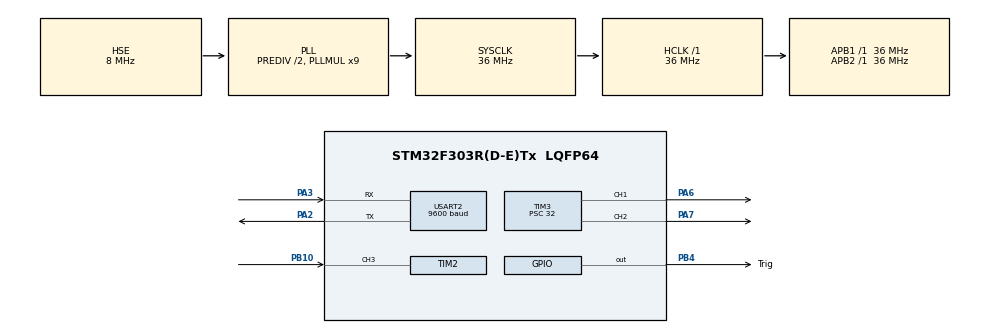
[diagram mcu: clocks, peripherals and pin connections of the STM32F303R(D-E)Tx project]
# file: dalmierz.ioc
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Mcu.Family=STM32F3
Mcu.Name=STM32F303R(D-E)Tx
Mcu.Package=LQFP64
NVIC.PriorityGroup=NVIC_PRIORITYGROUP_4
NVIC.TIM2_IRQn=true\:0\:0\:false\:false\:true\:true\:true\:true
NVIC.TIM4_IRQn=true\:0\:0\:false\:false\:true\:true\:true\:true
PA2.Mode=Asynchronous
PA2.Signal=USART2_TX
PA3.Mode=Asynchronous
PA3.Signal=USART2_RX
PA6.Signal=S_TIM3_CH1
PA7.Signal=S_TIM3_CH2
PB10.Signal=S_TIM2_CH3
PB4.GPIO_Label=Trig
PB4.GPIO_Speed=GPIO_SPEED_FREQ_HIGH
PB4.Signal=GPIO_Output
PF0-OSC_IN.Mode=HSE-External-Oscillator
PF0-OSC_IN.Signal=RCC_OSC_IN
PF1-OSC_OUT.Mode=HSE-External-Oscillator
PF1-OSC_OUT.Signal=RCC_OSC_OUT
ProjectManager.HeapSize=0x200
ProjectManager.StackSize=0x400
ProjectManager.TargetToolchain=STM32CubeIDE
RCC.AHBFreq_Value=36000000
RCC.APB1Freq_Value=36000000
RCC.APB1TimFreq_Value=36000000
RCC.APB2Freq_Value=36000000
RCC.APB2TimFreq_Value=36000000
RCC.CortexFreq_Value=36000000
RCC.HCLKFreq_Value=36000000
RCC.PLLDivider=RCC_PREDIV_DIV2
RCC.PLLMUL=RCC_PLL_MUL9
RCC.PLLSourceVirtual=RCC_PLLSOURCE_HSE
RCC.SYSCLKFreq_VALUE=36000000
RCC.SYSCLKSourceVirtual=RCC_SYSCLKSOURCE_PLLCLK
RCC.USBFreq_Value=36000000
SH.S_TIM2_CH3.0=TIM2_CH3,Input_Capture3_from_TI3
SH.S_TIM3_CH1.0=TIM3_CH1,PWM Generation1 CH1
SH.S_TIM3_CH2.0=TIM3_CH2,PWM Generation2 CH2
TIM2.Channel-Input_Capture3_from_TI3=TIM_CHANNEL_3
TIM2.ICPolarity_CH3=TIM_INPUTCHANNELPOLARITY_BOTHEDGE
TIM2.Period=10000
TIM2.Prescaler=36
TIM3.Channel-PWM\ Generation1\ CH1=TIM_CHANNEL_1
TIM3.Channel-PWM\ Generation2\ CH2=TIM_CHANNEL_2
TIM3.CounterMode=TIM_COUNTERMODE_UP
TIM3.OCPolarity_1=TIM_OCPOLARITY_LOW
TIM3.OCPolarity_2=TIM_OCPOLARITY_LOW
TIM3.Period=250
TIM3.Prescaler=32
TIM4.Period=36
TIM4.Prescaler=2
USART2.BaudRate=9600
USART2.VirtualMode-Asynchronous=VM_ASYNC
VP_TIM2_VS_ClockSourceINT.Mode=Internal
VP_TIM3_VS_ClockSourceINT.Mode=Internal
VP_TIM4_VS_ClockSourceINT.Mode=Internal
board=custom

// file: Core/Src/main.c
/* USER CODE BEGIN Header */
/**
  ******************************************************************************
  * @file           : main.c
  * @brief          : Main program body
  ******************************************************************************
  * @attention
  *
  * Copyright (c) 2025 STMicroelectronics.
  * All rights reserved.
  *
  * This software is licensed under terms that can be found in the LICENSE file
  * in the root directory of this software component.
  * If no LICENSE file comes with this software, it is provided AS-IS.
  *
  ******************************************************************************
  */
/* USER CODE END Header */
#include "main.h"

/* USER CODE BEGIN Includes */
#include <stdlib.h>
/* USER CODE END Includes */

TIM_HandleTypeDef htim2;
TIM_HandleTypeDef htim3;
TIM_HandleTypeDef htim4;

UART_HandleTypeDef huart2;

/* USER CODE BEGIN PV */
int input_capture;

/* USER CODE END PV */

void SystemClock_Config(void);
static void MX_GPIO_Init(void);
static void MX_TIM3_Init(void);
static void MX_TIM2_Init(void);
static void MX_USART2_UART_Init(void);
static void MX_TIM4_Init(void);
/* USER CODE BEGIN PFP */
void RG_Color(uint8_t R, uint8_t G){
	if(R<251 && G <251){
		TIM3->CCR1 = 250-R; //Red
		TIM3->CCR2 = 250-G; //Green
	}
}

void HAL_TIM_IC_CaptureCallback(TIM_HandleTypeDef *htim)
{
	if (htim->Instance==TIM2)
		{
         input_capture= __HAL_TIM_GetCompare(&htim2, TIM_CHANNEL_3);	//czyatj TIM2 channel 3 capture value
		__HAL_TIM_SetCounter(&htim2, 0);	//reset licznika po przerwaniu
		}
}

//void HAL_TIM_IC_CaptureCallback(TIM_HandleTypeDef *htim){
//	if(htim -> Instance == TIM2){
//		input_capture = __HAL_TIM_GetCompare(&htim2, TIM_CHANNEL_3);
//		__HAL_TIM_SetCounter(&htim2, 0);
//	}
//}

/* USER CODE END PFP */

int main(void)
{

  /* USER CODE BEGIN 1 */
  uint8_t wyswietl[40];
  uint8_t i;
  /* USER CODE END 1 */

  /* MCU Configuration--------------------------------------------------------*/

  /* Reset of all peripherals, Initializes the Flash interface and the Systick. */
  HAL_Init();

  /* Configure the system clock */
  SystemClock_Config();

  /* Initialize all configured peripherals */
  MX_GPIO_Init();
  MX_TIM3_Init();
  MX_TIM2_Init();
  MX_USART2_UART_Init();
  MX_TIM4_Init();
  /* USER CODE BEGIN 2 */

  HAL_TIM_PWM_Start(&htim3, TIM_CHANNEL_1);  //R
  HAL_TIM_PWM_Start(&htim3, TIM_CHANNEL_2); //G

  HAL_TIM_IC_Start_IT(&htim2, TIM_CHANNEL_3); //Start przerwan
  HAL_TIM_Base_Start_IT(&htim4); // uruchomienie TRIG

  /* USER CODE END 2 */

  /* Infinite loop */
  /* USER CODE BEGIN WHILE */

  while (1)
  {

	  for(i=0;i<40;i++)//zeruj lancuch do wyswietlenia
		  wyswietl[i]=0;

	  sprintf(wyswietl,"raw=%d, distance=%d\n\r", input_capture, input_capture/58);
	  HAL_UART_Transmit(&huart2,wyswietl,40,250);
	  HAL_Delay(500);

	  if((input_capture/58) <= 10){ // input/58 = [cm]
		  RG_Color(250, 0); // red

	  }else{
		  RG_Color(0, 250); // green

	  }

    /* USER CODE END WHILE */

  }
}

void SystemClock_Config(void)
{
  RCC_OscInitTypeDef RCC_OscInitStruct = {0};
  RCC_ClkInitTypeDef RCC_ClkInitStruct = {0};
  RCC_PeriphCLKInitTypeDef PeriphClkInit = {0};

  /** Initializes the RCC Oscillators according to the specified parameters
  * in the RCC_OscInitTypeDef structure.
  */
  RCC_OscInitStruct.OscillatorType = RCC_OSCILLATORTYPE_HSE;
  RCC_OscInitStruct.HSEState = RCC_HSE_ON;
  RCC_OscInitStruct.HSIState = RCC_HSI_ON;
  RCC_OscInitStruct.PLL.PLLState = RCC_PLL_ON;
  RCC_OscInitStruct.PLL.PLLSource = RCC_PLLSOURCE_HSE;
  RCC_OscInitStruct.PLL.PLLMUL = RCC_PLL_MUL9;
  RCC_OscInitStruct.PLL.PREDIV = RCC_PREDIV_DIV2;
  if (HAL_RCC_OscConfig(&RCC_OscInitStruct) != HAL_OK)
  {
    Error_Handler();
  }

  /** Initializes the CPU, AHB and APB buses clocks
  */
  RCC_ClkInitStruct.ClockType = RCC_CLOCKTYPE_HCLK|RCC_CLOCKTYPE_SYSCLK
                              |RCC_CLOCKTYPE_PCLK1|RCC_CLOCKTYPE_PCLK2;
  RCC_ClkInitStruct.SYSCLKSource = RCC_SYSCLKSOURCE_PLLCLK;
  RCC_ClkInitStruct.AHBCLKDivider = RCC_SYSCLK_DIV1;
  RCC_ClkInitStruct.APB1CLKDivider = RCC_HCLK_DIV1;
  RCC_ClkInitStruct.APB2CLKDivider = RCC_HCLK_DIV1;

  if (HAL_RCC_ClockConfig(&RCC_ClkInitStruct, FLASH_LATENCY_1) != HAL_OK)
  {
    Error_Handler();
  }
  PeriphClkInit.PeriphClockSelection = RCC_PERIPHCLK_USART2|RCC_PERIPHCLK_TIM2
                              |RCC_PERIPHCLK_TIM34;
  PeriphClkInit.Usart2ClockSelection = RCC_USART2CLKSOURCE_PCLK1;
  PeriphClkInit.Tim2ClockSelection = RCC_TIM2CLK_HCLK;
  PeriphClkInit.Tim34ClockSelection = RCC_TIM34CLK_HCLK;
  if (HAL_RCCEx_PeriphCLKConfig(&PeriphClkInit) != HAL_OK)
  {
    Error_Handler();
  }
}

static void MX_TIM2_Init(void)
{

  TIM_ClockConfigTypeDef sClockSourceConfig = {0};
  TIM_MasterConfigTypeDef sMasterConfig = {0};
  TIM_IC_InitTypeDef sConfigIC = {0};

  htim2.Instance = TIM2;
  htim2.Init.Prescaler = 36;
  htim2.Init.CounterMode = TIM_COUNTERMODE_UP;
  htim2.Init.Period = 10000;
  htim2.Init.ClockDivision = TIM_CLOCKDIVISION_DIV1;
  htim2.Init.AutoReloadPreload = TIM_AUTORELOAD_PRELOAD_DISABLE;
  if (HAL_TIM_Base_Init(&htim2) != HAL_OK)
  {
    Error_Handler();
  }
  sClockSourceConfig.ClockSource = TIM_CLOCKSOURCE_INTERNAL;
  if (HAL_TIM_ConfigClockSource(&htim2, &sClockSourceConfig) != HAL_OK)
  {
    Error_Handler();
  }
  if (HAL_TIM_IC_Init(&htim2) != HAL_OK)
  {
    Error_Handler();
  }
  sMasterConfig.MasterOutputTrigger = TIM_TRGO_RESET;
  sMasterConfig.MasterSlaveMode = TIM_MASTERSLAVEMODE_DISABLE;
  if (HAL_TIMEx_MasterConfigSynchronization(&htim2, &sMasterConfig) != HAL_OK)
  {
    Error_Handler();
  }
  sConfigIC.ICPolarity = TIM_INPUTCHANNELPOLARITY_BOTHEDGE;
  sConfigIC.ICSelection = TIM_ICSELECTION_DIRECTTI;
  sConfigIC.ICPrescaler = TIM_ICPSC_DIV1;
  sConfigIC.ICFilter = 0;
  if (HAL_TIM_IC_ConfigChannel(&htim2, &sConfigIC, TIM_CHANNEL_3) != HAL_OK)
  {
    Error_Handler();
  }

}

static void MX_TIM3_Init(void)
{

  TIM_ClockConfigTypeDef sClockSourceConfig = {0};
  TIM_MasterConfigTypeDef sMasterConfig = {0};
  TIM_OC_InitTypeDef sConfigOC = {0};

  htim3.Instance = TIM3;
  htim3.Init.Prescaler = 32;
  htim3.Init.CounterMode = TIM_COUNTERMODE_UP;
  htim3.Init.Period = 250;
  htim3.Init.ClockDivision = TIM_CLOCKDIVISION_DIV1;
  htim3.Init.AutoReloadPreload = TIM_AUTORELOAD_PRELOAD_DISABLE;
  if (HAL_TIM_Base_Init(&htim3) != HAL_OK)
  {
    Error_Handler();
  }
  sClockSourceConfig.ClockSource = TIM_CLOCKSOURCE_INTERNAL;
  if (HAL_TIM_ConfigClockSource(&htim3, &sClockSourceConfig) != HAL_OK)
  {
    Error_Handler();
  }
  if (HAL_TIM_PWM_Init(&htim3) != HAL_OK)
  {
    Error_Handler();
  }
  sMasterConfig.MasterOutputTrigger = TIM_TRGO_RESET;
  sMasterConfig.MasterSlaveMode = TIM_MASTERSLAVEMODE_DISABLE;
  if (HAL_TIMEx_MasterConfigSynchronization(&htim3, &sMasterConfig) != HAL_OK)
  {
    Error_Handler();
  }
  sConfigOC.OCMode = TIM_OCMODE_PWM1;
  sConfigOC.Pulse = 0;
  sConfigOC.OCPolarity = TIM_OCPOLARITY_LOW;
  sConfigOC.OCFastMode = TIM_OCFAST_DISABLE;
  if (HAL_TIM_PWM_ConfigChannel(&htim3, &sConfigOC, TIM_CHANNEL_1) != HAL_OK)
  {
    Error_Handler();
  }
  if (HAL_TIM_PWM_ConfigChannel(&htim3, &sConfigOC, TIM_CHANNEL_2) != HAL_OK)
  {
    Error_Handler();
  }
  HAL_TIM_MspPostInit(&htim3);

}

static void MX_TIM4_Init(void)
{

  TIM_ClockConfigTypeDef sClockSourceConfig = {0};
  TIM_MasterConfigTypeDef sMasterConfig = {0};

  htim4.Instance = TIM4;
  htim4.Init.Prescaler = 2;
  htim4.Init.CounterMode = TIM_COUNTERMODE_UP;
  htim4.Init.Period = 36;
  htim4.Init.ClockDivision = TIM_CLOCKDIVISION_DIV1;
  htim4.Init.AutoReloadPreload = TIM_AUTORELOAD_PRELOAD_DISABLE;
  if (HAL_TIM_Base_Init(&htim4) != HAL_OK)
  {
    Error_Handler();
  }
  sClockSourceConfig.ClockSource = TIM_CLOCKSOURCE_INTERNAL;
  if (HAL_TIM_ConfigClockSource(&htim4, &sClockSourceConfig) != HAL_OK)
  {
    Error_Handler();
  }
  sMasterConfig.MasterOutputTrigger = TIM_TRGO_RESET;
  sMasterConfig.MasterSlaveMode = TIM_MASTERSLAVEMODE_DISABLE;
  if (HAL_TIMEx_MasterConfigSynchronization(&htim4, &sMasterConfig) != HAL_OK)
  {
    Error_Handler();
  }

}

static void MX_USART2_UART_Init(void)
{

  huart2.Instance = USART2;
  huart2.Init.BaudRate = 9600;
  huart2.Init.WordLength = UART_WORDLENGTH_8B;
  huart2.Init.StopBits = UART_STOPBITS_1;
  huart2.Init.Parity = UART_PARITY_NONE;
  huart2.Init.Mode = UART_MODE_TX_RX;
  huart2.Init.HwFlowCtl = UART_HWCONTROL_NONE;
  huart2.Init.OverSampling = UART_OVERSAMPLING_16;
  huart2.Init.OneBitSampling = UART_ONE_BIT_SAMPLE_DISABLE;
  huart2.AdvancedInit.AdvFeatureInit = UART_ADVFEATURE_NO_INIT;
  if (HAL_UART_Init(&huart2) != HAL_OK)
  {
    Error_Handler();
  }

}

static void MX_GPIO_Init(void)
{
  GPIO_InitTypeDef GPIO_InitStruct = {0};

  /* GPIO Ports Clock Enable */
  __HAL_RCC_GPIOF_CLK_ENABLE();
  __HAL_RCC_GPIOA_CLK_ENABLE();
  __HAL_RCC_GPIOB_CLK_ENABLE();

  /*Configure GPIO pin Output Level */
  HAL_GPIO_WritePin(Trig_GPIO_Port, Trig_Pin, GPIO_PIN_RESET);

  /*Configure GPIO pin : Trig_Pin */
  GPIO_InitStruct.Pin = Trig_Pin;
  GPIO_InitStruct.Mode = GPIO_MODE_OUTPUT_PP;
  GPIO_InitStruct.Pull = GPIO_NOPULL;
  GPIO_InitStruct.Speed = GPIO_SPEED_FREQ_HIGH;
  HAL_GPIO_Init(Trig_GPIO_Port, &GPIO_InitStruct);

}

void Error_Handler(void)
{
  __disable_irq();
  while (1)
  {
  }
}
